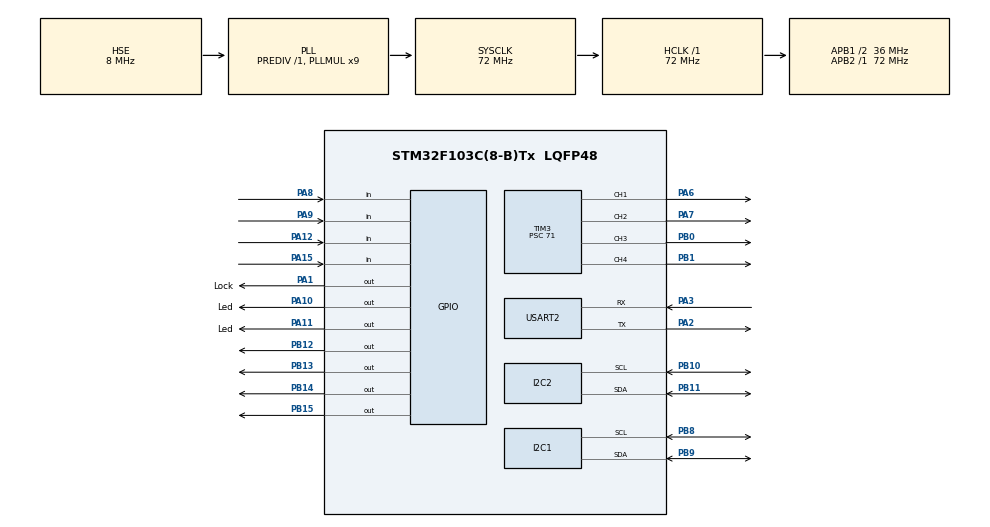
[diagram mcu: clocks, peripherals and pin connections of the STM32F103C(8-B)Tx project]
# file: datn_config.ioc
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FREERTOS.Tasks01=defaultTask,0,128,StartDefaultTask,Default,NULL,Dynamic,NULL,NULL
I2C1.I2C_Mode=I2C_Fast
I2C2.I2C_Mode=I2C_Fast
Mcu.Family=STM32F1
Mcu.Name=STM32F103C(8-B)Tx
Mcu.Package=LQFP48
NVIC.PriorityGroup=NVIC_PRIORITYGROUP_4
NVIC.TIM1_UP_IRQn=true\:15\:0\:false\:false\:true\:false\:false\:true\:true
NVIC.TimeBase=TIM1_UP_IRQn
NVIC.TimeBaseIP=TIM1
PA1.GPIO_Label=Lock
PA1.Signal=GPIO_Output
PA10.GPIO_Label=Led
PA10.Signal=GPIO_Output
PA11.GPIO_Label=Led
PA11.Signal=GPIO_Output
PA12.GPIO_PuPd=GPIO_PULLUP
PA12.Signal=GPIO_Input
PA13.Mode=Trace_Asynchronous_SW
PA13.Signal=SYS_JTMS-SWDIO
PA14.Mode=Trace_Asynchronous_SW
PA14.Signal=SYS_JTCK-SWCLK
PA15.GPIO_PuPd=GPIO_PULLUP
PA15.Signal=GPIO_Input
PA2.Mode=Asynchronous
PA2.Signal=USART2_TX
PA3.Mode=Asynchronous
PA3.Signal=USART2_RX
PA6.Signal=S_TIM3_CH1
PA7.Signal=S_TIM3_CH2
PA8.GPIO_PuPd=GPIO_PULLUP
PA8.Signal=GPIO_Input
PA9.GPIO_PuPd=GPIO_PULLUP
PA9.Signal=GPIO_Input
PB0.Signal=S_TIM3_CH3
PB1.Signal=S_TIM3_CH4
PB10.Mode=I2C
PB10.Signal=I2C2_SCL
PB11.Mode=I2C
PB11.Signal=I2C2_SDA
PB12.Signal=GPIO_Output
PB13.Signal=GPIO_Output
PB14.Signal=GPIO_Output
PB15.Signal=GPIO_Output
PB3.Mode=Trace_Asynchronous_SW
PB3.Signal=SYS_JTDO-TRACESWO
PB8.Mode=I2C
PB8.Signal=I2C1_SCL
PB9.Mode=I2C
PB9.Signal=I2C1_SDA
PD0-OSC_IN.Mode=HSE-External-Oscillator
PD0-OSC_IN.Signal=RCC_OSC_IN
PD1-OSC_OUT.Mode=HSE-External-Oscillator
PD1-OSC_OUT.Signal=RCC_OSC_OUT
ProjectManager.HeapSize=0x200
ProjectManager.StackSize=0x400
ProjectManager.TargetToolchain=STM32CubeIDE
RCC.AHBFreq_Value=72000000
RCC.APB1CLKDivider=RCC_HCLK_DIV2
RCC.APB1Freq_Value=36000000
RCC.APB1TimFreq_Value=72000000
RCC.APB2Freq_Value=72000000
RCC.APB2TimFreq_Value=72000000
RCC.HCLKFreq_Value=72000000
RCC.PLLMUL=RCC_PLL_MUL9
RCC.PLLSourceVirtual=RCC_PLLSOURCE_HSE
RCC.SYSCLKFreq_VALUE=72000000
RCC.SYSCLKSource=RCC_SYSCLKSOURCE_PLLCLK
RCC.USBFreq_Value=72000000
SH.S_TIM3_CH1.0=TIM3_CH1,PWM Generation1 CH1
SH.S_TIM3_CH2.0=TIM3_CH2,PWM Generation2 CH2
SH.S_TIM3_CH3.0=TIM3_CH3,PWM Generation3 CH3
SH.S_TIM3_CH4.0=TIM3_CH4,PWM Generation4 CH4
TIM3.Channel-PWM\ Generation1\ CH1=TIM_CHANNEL_1
TIM3.Channel-PWM\ Generation2\ CH2=TIM_CHANNEL_2
TIM3.Channel-PWM\ Generation3\ CH3=TIM_CHANNEL_3
TIM3.Channel-PWM\ Generation4\ CH4=TIM_CHANNEL_4
TIM3.Prescaler=71
USART2.VirtualMode=VM_ASYNC
VP_FREERTOS_VS_CMSIS_V1.Mode=CMSIS_V1
VP_SYS_VS_tim1.Mode=TIM1
VP_TIM3_VS_ClockSourceINT.Mode=Internal
board=custom

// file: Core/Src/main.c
/* USER CODE BEGIN Header */
/**
  ******************************************************************************
  * @file           : main.c
  * @brief          : Main program body
  ******************************************************************************
  * @attention
  *
  * Copyright (c) 2026 STMicroelectronics.
  * All rights reserved.
  *
  * This software is licensed under terms that can be found in the LICENSE file
  * in the root directory of this software component.
  * If no LICENSE file comes with this software, it is provided AS-IS.
  *
  ******************************************************************************
  */
/* USER CODE END Header */
#include "main.h"
#include "cmsis_os.h"

/* USER CODE BEGIN Includes */
/* task init prototypes available from headers in Core/Inc/task */
#include "msg_queue.h"

#include "task/task_mpu.h"
#include "task/task_motor.h"
#include "task/task_led_signal.h"
#include "task/task_uart.h"
#include "task/task_cmd.h"
#include <stdio.h>
/* USER CODE END Includes */

I2C_HandleTypeDef hi2c1;
I2C_HandleTypeDef hi2c2;

TIM_HandleTypeDef htim3;

UART_HandleTypeDef huart2;

osThreadId defaultTaskHandle;

void SystemClock_Config(void);
static void MX_GPIO_Init(void);
static void MX_I2C1_Init(void);
static void MX_I2C2_Init(void);
static void MX_TIM3_Init(void);
static void MX_USART2_UART_Init(void);
void StartDefaultTask(void const * argument);

/* USER CODE BEGIN 0 */
int __io_putchar(int ch)
{
  if ((CoreDebug->DEMCR & CoreDebug_DEMCR_TRCENA_Msk) &&
      (ITM->TCR & ITM_TCR_ITMENA_Msk) &&
      (ITM->TER & (1UL << 0)))
  {
    ITM_SendChar((uint32_t)ch);
  }

  if (huart2.gState != HAL_UART_STATE_RESET)
  {
    uint8_t c = (uint8_t)ch;
    (void)HAL_UART_Transmit(&huart2, &c, 1, 10);
  }

  return ch;
}
/* USER CODE END 0 */

int main(void)
{

  /* MCU Configuration--------------------------------------------------------*/

  /* Reset of all peripherals, Initializes the Flash interface and the Systick. */
  HAL_Init();

  setvbuf(stdout, NULL, _IONBF, 0);

  /* Configure the system clock */
  SystemClock_Config();

  /* Initialize all configured peripherals */
  MX_GPIO_Init();
  MX_I2C1_Init();
  MX_I2C2_Init();
  MX_TIM3_Init();
  MX_USART2_UART_Init();

  printf("Hello, world!\r\n");
  /* USER CODE BEGIN 2 */
  /* basic initializations (if any) */
  /* USER CODE END 2 */

  /* USER CODE BEGIN RTOS_QUEUES */
  /* add queues, ... */
  msg_queue_init(8); /* create 8-entry queues for LED/MOTOR/MPU */
  /* USER CODE END RTOS_QUEUES */

  /* Create the thread(s) */
  /* definition and creation of defaultTask */
  osThreadDef(defaultTask, StartDefaultTask, osPriorityNormal, 0, 128);
  defaultTaskHandle = osThreadCreate(osThread(defaultTask), NULL);

  /* USER CODE BEGIN RTOS_THREADS */
  /* add threads, ... */
  init_task_mpu();
  init_task_motor();
  init_task_led_signal();
  init_task_uart();
  init_task_cmd();
  /* USER CODE END RTOS_THREADS */

  /* Start scheduler */
  osKernelStart();

  /* We should never get here as control is now taken by the scheduler */

  /* Infinite loop */
  while (1)
  {
      printf("Hello, world!\r\n");
      osDelay(1000);
  }
}

void SystemClock_Config(void)
{
  RCC_OscInitTypeDef RCC_OscInitStruct = {0};
  RCC_ClkInitTypeDef RCC_ClkInitStruct = {0};

  /** Initializes the RCC Oscillators according to the specified parameters
  * in the RCC_OscInitTypeDef structure.
  */
  RCC_OscInitStruct.OscillatorType = RCC_OSCILLATORTYPE_HSE;
  RCC_OscInitStruct.HSEState = RCC_HSE_ON;
  RCC_OscInitStruct.HSEPredivValue = RCC_HSE_PREDIV_DIV1;
  RCC_OscInitStruct.HSIState = RCC_HSI_ON;
  RCC_OscInitStruct.PLL.PLLState = RCC_PLL_ON;
  RCC_OscInitStruct.PLL.PLLSource = RCC_PLLSOURCE_HSE;
  RCC_OscInitStruct.PLL.PLLMUL = RCC_PLL_MUL9;
  if (HAL_RCC_OscConfig(&RCC_OscInitStruct) != HAL_OK)
  {
    Error_Handler();
  }

  /** Initializes the CPU, AHB and APB buses clocks
  */
  RCC_ClkInitStruct.ClockType = RCC_CLOCKTYPE_HCLK|RCC_CLOCKTYPE_SYSCLK
                              |RCC_CLOCKTYPE_PCLK1|RCC_CLOCKTYPE_PCLK2;
  RCC_ClkInitStruct.SYSCLKSource = RCC_SYSCLKSOURCE_PLLCLK;
  RCC_ClkInitStruct.AHBCLKDivider = RCC_SYSCLK_DIV1;
  RCC_ClkInitStruct.APB1CLKDivider = RCC_HCLK_DIV2;
  RCC_ClkInitStruct.APB2CLKDivider = RCC_HCLK_DIV1;

  if (HAL_RCC_ClockConfig(&RCC_ClkInitStruct, FLASH_LATENCY_2) != HAL_OK)
  {
    Error_Handler();
  }
}

static void MX_I2C1_Init(void)
{

  hi2c1.Instance = I2C1;
  hi2c1.Init.ClockSpeed = 400000;
  hi2c1.Init.DutyCycle = I2C_DUTYCYCLE_2;
  hi2c1.Init.OwnAddress1 = 0;
  hi2c1.Init.AddressingMode = I2C_ADDRESSINGMODE_7BIT;
  hi2c1.Init.DualAddressMode = I2C_DUALADDRESS_DISABLE;
  hi2c1.Init.OwnAddress2 = 0;
  hi2c1.Init.GeneralCallMode = I2C_GENERALCALL_DISABLE;
  hi2c1.Init.NoStretchMode = I2C_NOSTRETCH_DISABLE;
  if (HAL_I2C_Init(&hi2c1) != HAL_OK)
  {
    Error_Handler();
  }

}

static void MX_I2C2_Init(void)
{

  hi2c2.Instance = I2C2;
  hi2c2.Init.ClockSpeed = 400000;
  hi2c2.Init.DutyCycle = I2C_DUTYCYCLE_2;
  hi2c2.Init.OwnAddress1 = 0;
  hi2c2.Init.AddressingMode = I2C_ADDRESSINGMODE_7BIT;
  hi2c2.Init.DualAddressMode = I2C_DUALADDRESS_DISABLE;
  hi2c2.Init.OwnAddress2 = 0;
  hi2c2.Init.GeneralCallMode = I2C_GENERALCALL_DISABLE;
  hi2c2.Init.NoStretchMode = I2C_NOSTRETCH_DISABLE;
  if (HAL_I2C_Init(&hi2c2) != HAL_OK)
  {
    Error_Handler();
  }

}

static void MX_TIM3_Init(void)
{

  TIM_ClockConfigTypeDef sClockSourceConfig = {0};
  TIM_MasterConfigTypeDef sMasterConfig = {0};
  TIM_OC_InitTypeDef sConfigOC = {0};

  htim3.Instance = TIM3;
  htim3.Init.Prescaler = 71;
  htim3.Init.CounterMode = TIM_COUNTERMODE_UP;
  htim3.Init.Period = 65535;
  htim3.Init.ClockDivision = TIM_CLOCKDIVISION_DIV1;
  htim3.Init.AutoReloadPreload = TIM_AUTORELOAD_PRELOAD_DISABLE;
  if (HAL_TIM_Base_Init(&htim3) != HAL_OK)
  {
    Error_Handler();
  }
  sClockSourceConfig.ClockSource = TIM_CLOCKSOURCE_INTERNAL;
  if (HAL_TIM_ConfigClockSource(&htim3, &sClockSourceConfig) != HAL_OK)
  {
    Error_Handler();
  }
  if (HAL_TIM_PWM_Init(&htim3) != HAL_OK)
  {
    Error_Handler();
  }
  sMasterConfig.MasterOutputTrigger = TIM_TRGO_RESET;
  sMasterConfig.MasterSlaveMode = TIM_MASTERSLAVEMODE_DISABLE;
  if (HAL_TIMEx_MasterConfigSynchronization(&htim3, &sMasterConfig) != HAL_OK)
  {
    Error_Handler();
  }
  sConfigOC.OCMode = TIM_OCMODE_PWM1;
  sConfigOC.Pulse = 0;
  sConfigOC.OCPolarity = TIM_OCPOLARITY_HIGH;
  sConfigOC.OCFastMode = TIM_OCFAST_DISABLE;
  if (HAL_TIM_PWM_ConfigChannel(&htim3, &sConfigOC, TIM_CHANNEL_1) != HAL_OK)
  {
    Error_Handler();
  }
  if (HAL_TIM_PWM_ConfigChannel(&htim3, &sConfigOC, TIM_CHANNEL_2) != HAL_OK)
  {
    Error_Handler();
  }
  if (HAL_TIM_PWM_ConfigChannel(&htim3, &sConfigOC, TIM_CHANNEL_3) != HAL_OK)
  {
    Error_Handler();
  }
  if (HAL_TIM_PWM_ConfigChannel(&htim3, &sConfigOC, TIM_CHANNEL_4) != HAL_OK)
  {
    Error_Handler();
  }
  HAL_TIM_MspPostInit(&htim3);

}

static void MX_USART2_UART_Init(void)
{

  huart2.Instance = USART2;
  huart2.Init.BaudRate = 115200;
  huart2.Init.WordLength = UART_WORDLENGTH_8B;
  huart2.Init.StopBits = UART_STOPBITS_1;
  huart2.Init.Parity = UART_PARITY_NONE;
  huart2.Init.Mode = UART_MODE_TX_RX;
  huart2.Init.HwFlowCtl = UART_HWCONTROL_NONE;
  huart2.Init.OverSampling = UART_OVERSAMPLING_16;
  if (HAL_UART_Init(&huart2) != HAL_OK)
  {
    Error_Handler();
  }

}

static void MX_GPIO_Init(void)
{
  GPIO_InitTypeDef GPIO_InitStruct = {0};

  /* GPIO Ports Clock Enable */
  __HAL_RCC_GPIOD_CLK_ENABLE();
  __HAL_RCC_GPIOA_CLK_ENABLE();
  __HAL_RCC_GPIOB_CLK_ENABLE();

  /*Configure GPIO pin Output Level */
  HAL_GPIO_WritePin(GPIOA, Lock_Pin|Led_Pin|LedA11_Pin, GPIO_PIN_RESET);

  /*Configure GPIO pin Output Level */
  HAL_GPIO_WritePin(GPIOB, GPIO_PIN_12|GPIO_PIN_13|GPIO_PIN_14|GPIO_PIN_15, GPIO_PIN_RESET);

  /*Configure GPIO pins : Lock_Pin Led_Pin LedA11_Pin */
  GPIO_InitStruct.Pin = Lock_Pin|Led_Pin|LedA11_Pin;
  GPIO_InitStruct.Mode = GPIO_MODE_OUTPUT_PP;
  GPIO_InitStruct.Pull = GPIO_NOPULL;
  GPIO_InitStruct.Speed = GPIO_SPEED_FREQ_LOW;
  HAL_GPIO_Init(GPIOA, &GPIO_InitStruct);

  /*Configure GPIO pins : PB12 PB13 PB14 PB15 */
  GPIO_InitStruct.Pin = GPIO_PIN_12|GPIO_PIN_13|GPIO_PIN_14|GPIO_PIN_15;
  GPIO_InitStruct.Mode = GPIO_MODE_OUTPUT_PP;
  GPIO_InitStruct.Pull = GPIO_NOPULL;
  GPIO_InitStruct.Speed = GPIO_SPEED_FREQ_LOW;
  HAL_GPIO_Init(GPIOB, &GPIO_InitStruct);

  /*Configure GPIO pins : PA8 PA9 PA12 PA15 */
  GPIO_InitStruct.Pin = GPIO_PIN_8|GPIO_PIN_9|GPIO_PIN_12|GPIO_PIN_15;
  GPIO_InitStruct.Mode = GPIO_MODE_INPUT;
  GPIO_InitStruct.Pull = GPIO_PULLUP;
  HAL_GPIO_Init(GPIOA, &GPIO_InitStruct);

}

void StartDefaultTask(void const * argument)
{
  for(;;)
  {
    osDelay(1);
  }
}

void HAL_TIM_PeriodElapsedCallback(TIM_HandleTypeDef *htim)
{
  if (htim->Instance == TIM1)
  {
    HAL_IncTick();
  }
}

void Error_Handler(void)
{
  __disable_irq();
  while (1)
  {
  }
}
